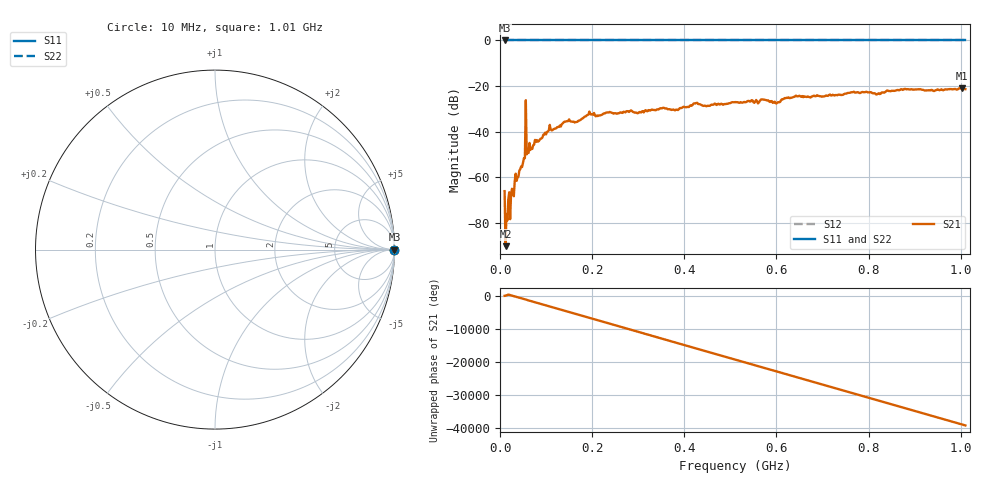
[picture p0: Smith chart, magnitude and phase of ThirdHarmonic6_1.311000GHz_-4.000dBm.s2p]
! 8/16/2025 2:29:50 PM
! C:\ANRITSUVNA\TEMP\TEMP.S2P
! CHANNEL.1
! TR.MEASUREMENT
! RAW.DATA
! RF.CORRECTION.OFF
! AVERAGING.OFF
! IF.BANDWIDTH: 5KHZ
! SWEEPTYPE:  FREQ.SWEEP(Linear)
! Reference Plane Port Info
! PORT:  PORT1  PORT2
! DISTANCE:  0  m  0  m
! TIME:  0  s  0  s
! PHASE.OFFSET:  0  deg.  0  deg.
! LOSS:  0  dB  0  dB
! REF.LOSS:  0  dB  0  dB
! REF.FREQ:  0  Hz  0  Hz
! Power Info
! POWER:  -20  dBm  -20  dBm
! EFF.POWER:  -20  dBm  -20  dBm
! SOURCE.ATTEN:  0  dB  0  dB
! TEST.ATTEN:  0  dB  0  dB
# GHZ S RI R 50.0
! FREQ.GHZ  S11RE  S11IM  S21RE  S21IM  S12RE  S12IM  S22RE  S22IM
!; PortSelection: Port_12
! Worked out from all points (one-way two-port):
!   501 points, 10 MHz to 1.01 GHz, reference 50 ohm
!   highest |S21| = -20.90 dB at 1.002 GHz (marker M1); lowest = -90.2 dB at 12 MHz (marker M2)
!   lowest |S11| = 0.0 dB at 10 MHz (marker M3)
!   |S11| at or under -10 dB: nowhere
!   |S22| runs from 0.0 to 0.0 dB; largest |S21 - S12| = 1.1
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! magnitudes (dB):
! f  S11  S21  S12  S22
! 10 MHz  0.0  -66.1  0.0  0.0
! 12 MHz  0.0  -90.2  0.0  0.0
! 18 MHz  0.0  -69.8  0.0  0.0
! 22 MHz  0.0  -78.4  0.0  0.0
! 26 MHz  0.0  -65.0  0.0  0.0
! 30 MHz  0.0  -68.3  0.0  0.0
! 50 MHz  0.0  -53.4  0.0  0.0
! 52 MHz  0.0  -51.6  0.0  0.0
! 60 MHz  0.0  -49.2  0.0  0.0
! 62 MHz  0.0  -49.3  0.0  0.0
! 106 MHz  0.0  -39.3  0.0  0.0
! 178 MHz  0.0  -34.3  0.0  0.0
! 196 MHz  0.0  -32.4  0.0  0.0
! 344 MHz  0.0  -30.3  0.0  0.0
! 510 MHz  0.0  -27.0  0.0  0.0
! 570 MHz  0.0  -25.9  0.0  0.0
! 602 MHz  0.0  -27.2  0.0  0.0
! 622 MHz  0.0  -25.1  0.0  0.0
! 678 MHz  0.0  -24.5  0.0  0.0
! 844 MHz  0.0  -22.2  0.0  0.0
! 1.002 GHz  0.0  -20.9  0.0  0.0
! 1.01 GHz  0.0  -21.3  0.0  0.0
